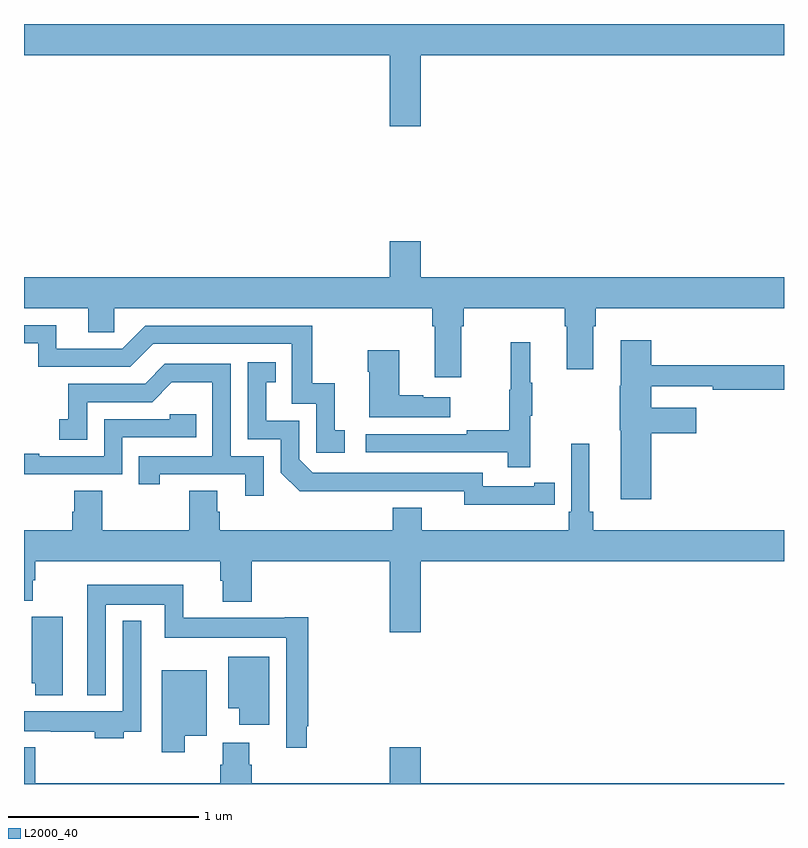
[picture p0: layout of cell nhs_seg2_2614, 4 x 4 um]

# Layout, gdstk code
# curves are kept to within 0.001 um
import gdstk
lib = gdstk.Library(unit=1e-6, precision=1e-09)
def P(c, l, *ps):  # polygons
    for p in ps: c.add(gdstk.Polygon(p, *l))
L2000_40 = (2000, 40)

nhs_seg2_2614 = lib.new_cell('nhs_seg2_2614')
P(nhs_seg2_2614, L2000_40, [(249.088,647.636),(251,647.636),(251,647.8),(247,647.8),(247,647.636),(248.924,647.636),(248.924,647.262),(249.088,647.262)],
  [(249.301,646.208),(249.314,646.208),(249.314,646.304),(249.845,646.304),(249.845,646.208),(249.857,646.208),(249.857,645.984),(249.997,645.984),(249.997,646.208),(250.01,646.208),(250.01,646.304),(251,646.304),(251,646.468),(249.088,646.468),(249.088,646.657),(248.924,646.657),(248.924,646.468),(247,646.468),(247,646.304),(247.337,646.304),(247.337,646.177),(247.476,646.177),(247.476,646.304),(249.149,646.304),(249.149,646.208),(249.161,646.208),(249.161,645.942),(249.301,645.942)],
  [(248.689,645.663),(248.636,645.663),(248.636,645.91),(248.518,645.91),(248.518,646.212),(247.638,646.212),(247.518,646.092),(247.171,646.092),(247.171,646.215),(247,646.215),(247,646.119),(247.074,646.119),(247.074,645.996),(247.56,645.996),(247.68,646.116),(248.409,646.116),(248.409,645.801),(248.538,645.801),(248.538,645.543),(248.689,645.543)],
  [(250.301,645.647),(250.537,645.647),(250.537,645.781),(250.301,645.781),(250.301,645.894),(250.624,645.894),(250.624,645.874),(251,645.874),(251,646.003),(250.301,646.003),(250.301,646.135),(250.142,646.135),(250.142,645.897),(250.135,645.897),(250.135,645.663),(250.142,645.663),(250.142,645.3),(250.301,645.3)],
  [(249.665,645.739),(249.676,645.739),(249.676,645.913),(249.665,645.913),(249.665,646.126),(249.562,646.126),(249.562,645.876),(249.555,645.876),(249.555,645.662),(249.331,645.662),(249.331,645.642),(248.799,645.642),(248.799,645.546),(249.547,645.546),(249.547,645.468),(249.665,645.468)],
  [(249.244,645.835),(249.101,645.835),(249.101,645.845),(248.974,645.845),(248.974,646.084),(248.809,646.084),(248.809,645.971),(248.816,645.971),(248.816,645.731),(249.244,645.731)],
  [(249.686,645.27),(249.794,645.27),(249.794,645.386),(249.686,645.386),(249.686,645.366),(249.414,645.366),(249.414,645.438),(248.52,645.438),(248.448,645.51),(248.448,645.711),(248.275,645.711),(248.275,645.915),(248.324,645.915),(248.324,646.021),(248.178,646.021),(248.178,645.615),(248.352,645.615),(248.352,645.438),(248.45,645.341),(249.318,645.342),(249.318,645.269)],
  [(248.262,645.525),(248.088,645.525),(248.088,646.011),(247.742,646.011),(247.637,645.906),(247.234,645.906),(247.234,645.721),(247.185,645.721),(247.185,645.612),(247.332,645.612),(247.332,645.81),(247.674,645.81),(247.778,645.914),(247.992,645.914),(247.992,645.525),(247.603,645.525),(247.603,645.378),(247.714,645.378),(247.714,645.429),(248.165,645.429),(248.165,645.318),(248.262,645.318)],
  [(247.518,645.624),(247.907,645.624),(247.907,645.747),(247.767,645.747),(247.767,645.72),(247.422,645.72),(247.422,645.525),(247.081,645.525),(247.081,645.538),(247,645.538),(247,645.429),(247.518,645.429)],
  [(249.088,644.972),(251,644.972),(251,645.136),(249.995,645.136),(249.995,645.232),(249.976,645.232),(249.976,645.592),(249.879,645.592),(249.879,645.232),(249.866,645.232),(249.866,645.136),(249.094,645.136),(249.094,645.253),(248.942,645.253),(248.942,645.136),(248.03,645.136),(248.03,645.234),(248.017,645.234),(248.017,645.344),(247.87,645.344),(247.87,645.136),(247.413,645.136),(247.413,645.344),(247.265,645.344),(247.265,645.234),(247.253,645.234),(247.253,645.136),(247,645.136),(247,644.764),(247.045,644.764),(247.045,644.873),(247.058,644.873),(247.058,644.972),(248.033,644.972),(248.033,644.871),(248.045,644.871),(248.045,644.759),(248.198,644.759),(248.198,644.972),(248.924,644.972),(248.924,644.598),(249.088,644.598)],
  [(248.488,644.104),(248.495,644.104),(248.495,644.677),(248.372,644.677),(248.372,644.674),(247.838,644.674),(247.838,644.848),(247.334,644.848),(247.334,644.267),(247.431,644.267),(247.431,644.744),(247.74,644.744),(247.74,644.57),(248.379,644.57),(248.379,643.992),(248.488,643.992)],
  [(247.204,644.679),(247.04,644.679),(247.04,644.331),(247.058,644.331),(247.058,644.268),(247.204,644.268)],
  [(247.525,644.076),(247.617,644.076),(247.617,644.659),(247.521,644.659),(247.521,644.182),(247,644.182),(247,644.078),(247.141,644.078),(247.141,644.076),(247.373,644.076),(247.373,644.042),(247.525,644.042)],
  [(248.29,644.47),(248.075,644.47),(248.075,644.198),(248.132,644.198),(248.132,644.112),(248.29,644.112)],
  [(247.846,644.054),(247.963,644.054),(247.963,644.398),(247.724,644.398),(247.724,643.968),(247.846,643.968)],
  [(251,643.804),(249.088,643.804),(249.088,643.993),(248.924,643.993),(248.924,643.804),(248.198,643.804),(248.198,643.902),(248.185,643.902),(248.185,644.017),(248.045,644.017),(248.045,643.902),(248.033,643.902),(248.033,643.804),(247.058,643.804),(247.058,643.993),(247,643.993),(247,643.8),(251,643.8)])

lib.write_gds('nhs_seg2_2614.gds')
